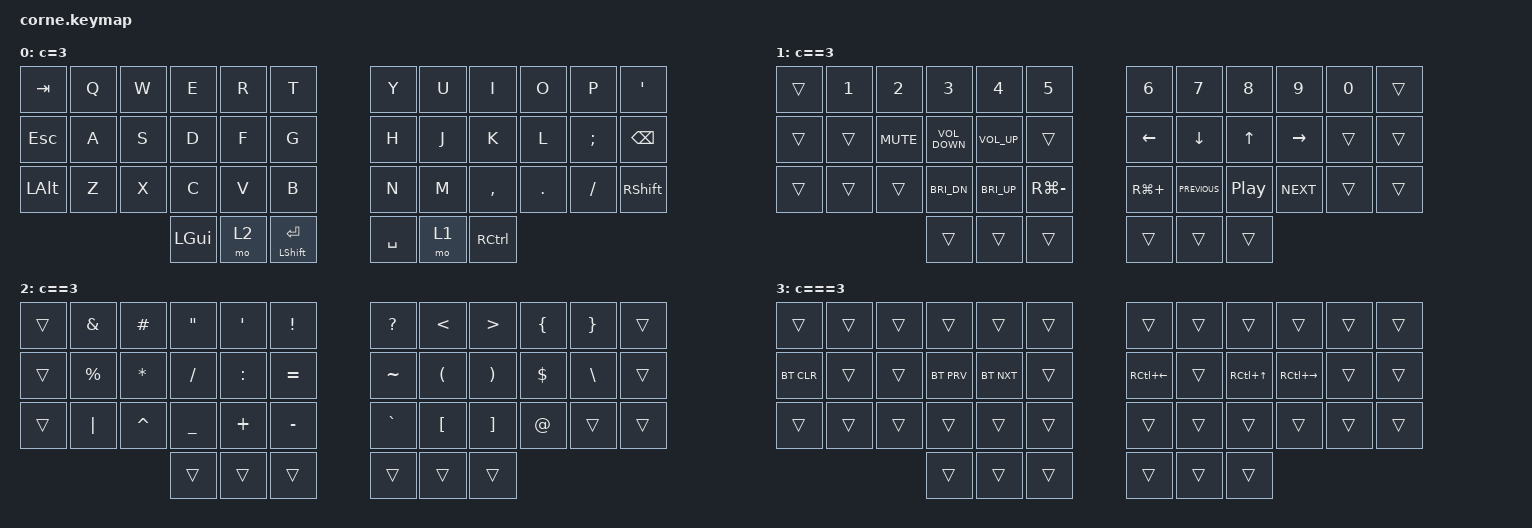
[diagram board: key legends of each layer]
/*
 * Copyright (c) 2020 The ZMK Contributors
 *
 * SPDX-License-Identifier: MIT
 */

#include <behaviors.dtsi>
#include <dt-bindings/zmk/bt.h>
#include <dt-bindings/zmk/keys.h>

/ {
    combos { compatible = "zmk,combos"; };

    keymap {
        compatible = "zmk,keymap";

        default_layer {
            // -----------------------------------------------------------------------------------------
            // |  TAB |  Q  |  W  |  E  |  R  |  T  |   |  Y  |  U   |  I  |  O  |  P  | BSPC |
            // | CTRL |  A  |  S  |  D  |  F  |  G  |   |  H  |  J   |  K  |  L  |  ;  |  '   |
            // | SHFT |  Z  |  X  |  C  |  V  |  B  |   |  N  |  M   |  ,  |  .  |  /  | ESC  |
            //                    | GUI | LWR | SPC |   | ENT | RSE  | ALT |

            bindings = <
&kp TAB       &kp Q  &kp W  &kp E     &kp R  &kp T                   &kp Y      &kp U  &kp I              &kp O    &kp P          &kp SQT
&kp ESCAPE    &kp A  &kp S  &kp D     &kp F  &kp G                   &kp H      &kp J  &kp K              &kp L    &kp SEMICOLON  &kp BACKSPACE
&kp LEFT_ALT  &kp Z  &kp X  &kp C     &kp V  &kp B                   &kp N      &kp M  &kp COMMA          &kp DOT  &kp FSLH       &kp RIGHT_SHIFT
                            &kp LGUI  &mo 2  &mt LEFT_SHIFT ENTER    &kp SPACE  &mo 1  &kp RIGHT_CONTROL
            >;

            label = "c=3";
        };

        lower_layer {
            bindings = <
&trans  &kp N1  &kp N2      &kp N3             &kp N4           &kp N5           &kp NUMBER_6    &kp NUMBER_7    &kp NUMBER_8      &kp NUMBER_9  &kp NUMBER_0  &trans
&trans  &trans  &kp K_MUTE  &kp C_VOLUME_DOWN  &kp C_VOLUME_UP  &trans           &kp LEFT_ARROW  &kp DOWN_ARROW  &kp UP_ARROW      &kp RIGHT     &trans        &trans
&trans  &trans  &trans      &kp C_BRI_DN       &kp C_BRI_UP     &kp RG(MINUS)    &kp RG(PLUS)    &kp C_PREVIOUS  &kp C_PLAY_PAUSE  &kp C_NEXT    &trans        &trans
                            &trans             &trans           &trans           &trans          &trans          &trans
            >;

            label = "c==3";
        };

        raise_layer {
            bindings = <
&trans  &kp AMPERSAND  &kp HASH      &kp DOUBLE_QUOTES  &kp SQT    &kp EXCLAMATION    &kp QUESTION  &kp LESS_THAN         &kp GREATER_THAN       &kp LEFT_BRACE  &kp RIGHT_BRACE  &trans
&trans  &kp PERCENT    &kp ASTERISK  &kp SLASH          &kp COLON  &kp EQUAL          &kp TILDE     &kp LEFT_PARENTHESIS  &kp RIGHT_PARENTHESIS  &kp DOLLAR      &kp BACKSLASH    &trans
&trans  &kp PIPE       &kp CARET     &kp UNDERSCORE     &kp PLUS   &kp MINUS          &kp GRAVE     &kp LEFT_BRACKET      &kp RIGHT_BRACKET      &kp AT_SIGN     &trans           &trans
                                     &trans             &trans     &trans             &trans        &trans                &trans
            >;

            label = "c==3";
        };

        layer_3 {
            bindings = <
&trans      &trans  &trans  &trans      &trans      &trans    &trans        &trans  &trans            &trans         &trans  &trans
&bt BT_CLR  &trans  &trans  &bt BT_PRV  &bt BT_NXT  &trans    &kp RC(LEFT)  &trans  &kp RC(UP_ARROW)  &kp RC(RIGHT)  &trans  &trans
&trans      &trans  &trans  &trans      &trans      &trans    &trans        &trans  &trans            &trans         &trans  &trans
                            &trans      &trans      &trans    &trans        &trans  &trans
            >;

            label = "c===3";
        };
    };

    conditional_layers {
        compatible = "zmk,conditional-layers";

        both {
            if-layers = <1 2>;
            then-layer = <3>;
        };
    };
};
